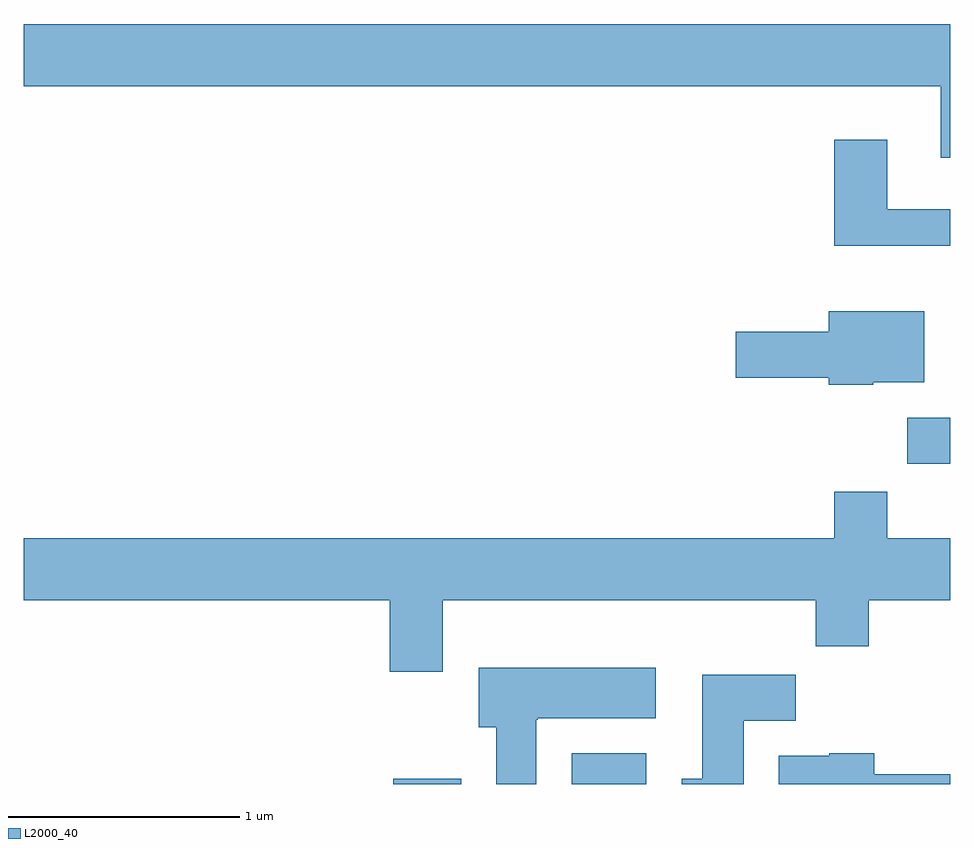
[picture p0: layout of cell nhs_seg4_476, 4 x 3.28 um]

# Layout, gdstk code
import gdstk
lib = gdstk.Library(unit=1e-6, precision=1e-09)
def R(c, l, rs):  # rectangles x0, y0, x1, y1
    for r in rs: c.add(gdstk.rectangle(r[:2], r[2:], *l))
def P(c, l, *ps):  # polygons
    for p in ps: c.add(gdstk.Polygon(p, *l))
L2000_40 = (2000, 40)

nhs_seg4_476 = lib.new_cell('nhs_seg4_476')
R(nhs_seg4_476, L2000_40, [(201.206,1253.982,201.499,1254.004), (201.976,1253.982,202.299,1254.114), (203.426,1255.366,203.611,1255.564)])
P(nhs_seg4_476, L2000_40, [(203.611,1257.264),(199.611,1257.264),(199.611,1256.996),(203.571,1256.996),(203.571,1256.686),(203.611,1256.686)],
  [(203.611,1256.464),(203.339,1256.464),(203.339,1256.764),(203.111,1256.764),(203.111,1256.306),(203.611,1256.306)],
  [(203.28,1255.716),(203.499,1255.716),(203.499,1256.024),(203.086,1256.024),(203.086,1255.934),(202.686,1255.934),(202.686,1255.736),(203.086,1255.736),(203.086,1255.706),(203.28,1255.706)],
  [(201.419,1254.776),(203.031,1254.776),(203.031,1254.576),(203.259,1254.576),(203.259,1254.776),(203.611,1254.776),(203.611,1255.044),(203.339,1255.044),(203.339,1255.244),(203.111,1255.244),(203.111,1255.044),(199.611,1255.044),(199.611,1254.776),(201.191,1254.776),(201.191,1254.466),(201.419,1254.466)],
  [(201.824,1254.26),(201.83,1254.26),(201.83,1254.266),(202.339,1254.266),(202.339,1254.484),(201.576,1254.484),(201.576,1254.226),(201.651,1254.226),(201.651,1253.982),(201.824,1253.982)],
  [(202.719,1254.256),(202.944,1254.256),(202.944,1254.454),(202.541,1254.454),(202.541,1254.004),(202.451,1254.004),(202.451,1253.982),(202.719,1253.982)],
  [(203.611,1254.024),(203.284,1254.024),(203.284,1254.114),(203.09,1254.114),(203.09,1254.104),(202.871,1254.104),(202.871,1253.982),(203.611,1253.982)])

lib.write_gds('nhs_seg4_476.gds')
